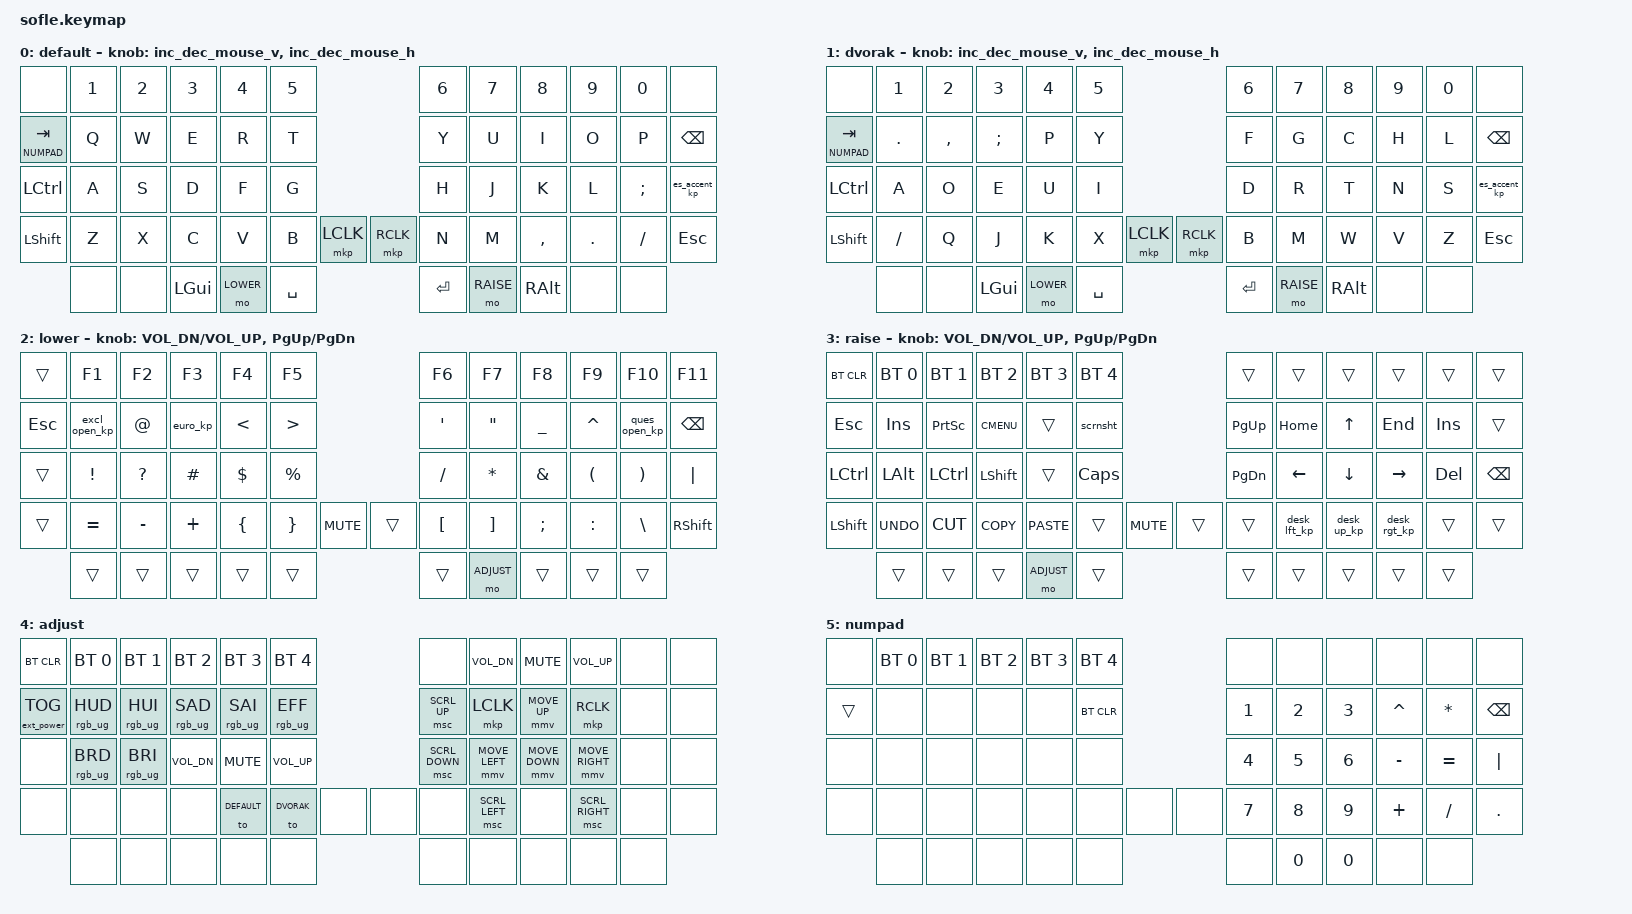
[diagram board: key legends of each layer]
/*
 * Copyright (c) 2020 The ZMK Contributors
 *
 * SPDX-License-Identifier: MIT
 */

#include <behaviors.dtsi>
#include <dt-bindings/zmk/keys.h>
#include <dt-bindings/zmk/bt.h>
#include <dt-bindings/zmk/rgb.h>
#include <dt-bindings/zmk/matrix_transform.h>
#include <dt-bindings/zmk/outputs.h>
#include <dt-bindings/zmk/ext_power.h>
#include <dt-bindings/zmk/pointing.h>

#define DEFAULT 0
#define DVORAK  1
#define LOWER 2
#define RAISE 3
#define ADJUST 4
#define NUMPAD 5

/* MACROS */
#define ES_NTIL SEMI
#define ES_TILD SQT
#define ES_LT RS(COMMA)
#define ES_GT TILDE

#define OP_TERM &kp LC(LG(LA(SLASH))) // open terminal iTerm2 in current directory for MacOS

/ {

    macros {
        scrnsht: scrnsht {
            label = "ZM_SCREENSHOOT_KP";
            compatible = "zmk,behavior-macro";
            #binding-cells = <0>;
            wait-ms = <0>;
            tap-ms = <10>;
            bindings
                    = <&macro_press &kp LSHFT &kp LGUI>
                    , <&macro_tap &kp N4>
                    , <&macro_release &kp LSHFT &kp LGUI>
                    ;
        };

        euro_kp: euro_kp {
            label = "ZM_EURO_KP";
            compatible = "zmk,behavior-macro";
            #binding-cells = <0>;
            wait-ms = <0>;
            tap-ms = <10>;
            bindings
                    = <&macro_press &kp LALT &kp LSHFT>
                    , <&macro_tap &kp N2>
                    , <&macro_release &kp LALT &kp LSHFT>
                    ;
        };


        excl_open_kp: excl_open_kp {
            label = "ZM_EXCL_OPEN_KP";
            compatible = "zmk,behavior-macro";
            #binding-cells = <0>;
            wait-ms = <0>;
            tap-ms = <10>;
            bindings
                    = <&macro_press &kp LALT>
                    , <&macro_tap &kp N1>
                    , <&macro_release &kp LALT>
                    ;
        };


        ques_open_kp: ques_open_kp {
            label = "ZM_QUES_OPEN_KP";
            compatible = "zmk,behavior-macro";
            #binding-cells = <0>;
            wait-ms = <0>;
            tap-ms = <10>;
            bindings
                    = <&macro_press &kp LALT &kp LSHFT>
                    , <&macro_tap &kp FSLH>
                    , <&macro_release &kp LALT &kp LSHFT>
                    ;
        };

        es_accent_kp: es_accent_kp {
            label = "ZM_ES_ACCENT_KP";
            compatible = "zmk,behavior-macro";
            #binding-cells = <0>;
            wait-ms = <0>;
            tap-ms = <10>;
            bindings
                    = <&macro_press &kp LALT>
                    , <&macro_tap &kp E>
                    , <&macro_release &kp LALT>
                    ;
        };

        desk_lft_kp: desk_lft_kp {
            label = "ZM_DESK_LFT_KP";
            compatible = "zmk,behavior-macro";
            #binding-cells = <0>;
            wait-ms = <0>;
            tap-ms = <10>;
            bindings
                    = <&macro_press &kp LCTRL>
                    , <&macro_tap &kp LEFT>
                    , <&macro_release &kp LCTRL>
                    ;
        };

        desk_rgt_kp: desk_rgt_kp {
            label = "ZM_DESK_RGT_KP";
            compatible = "zmk,behavior-macro";
            #binding-cells = <0>;
            wait-ms = <0>;
            tap-ms = <10>;
            bindings
                    = <&macro_press &kp LCTRL>
                    , <&macro_tap &kp RIGHT>
                    , <&macro_release &kp LCTRL>
                    ;
        };

        desk_up_kp: desk_up_kp {
            label = "ZM_DESK_UP_KP";
            compatible = "zmk,behavior-macro";
            #binding-cells = <0>;
            wait-ms = <0>;
            tap-ms = <10>;
            bindings
                    = <&macro_press &kp LCTRL>
                    , <&macro_tap &kp UP>
                    , <&macro_release &kp LCTRL>
                    ;
        };
    };

    behaviors {
        inc_dec_mouse_v: inc_dec_mouse_v {
            compatible = "zmk,behavior-sensor-rotate";
            #sensor-binding-cells = <0>;
            bindings = <&mmv MOVE_DOWN>, <&mmv MOVE_UP>;
        };

        inc_dec_mouse_h: inc_dec_mouse_h {
            compatible = "zmk,behavior-sensor-rotate";
            #sensor-binding-cells = <0>;
            bindings = <&mmv MOVE_LEFT>, <&mmv MOVE_RIGHT>;
        };
    };

   // Activate ADJUST layer by pressing raise and lower
    conditional_layers {
        compatible = "zmk,conditional-layers";
        adjust_layer {
            if-layers = <LOWER RAISE>;
            then-layer = <ADJUST>;
        };
    };

    keymap {
        compatible = "zmk,keymap";

        default_layer {
            display-name = "default";
// ------------------------------------------------------------------------------------------------------------
// |   `   |  1  |  2  |  3   |  4   |  5   |                   |  6   |  7    |  8    |  9   |   0   |       |
// |TABNUM |  Q  |  W  |  E   |  R   |  T   |                   |  Y   |  U    |  I    |  O   |   P   | BKSPC |
// |  CTRL |  A  |  S  |  D   |  F   |  G   |                   |  H   |  J    |  K    |  L   |   ;   |   '   |
// | SHIFT |  Z  |  X  |  C   |  V   |  B   |  MUTE  |  |       |  N   |  M    |  ,    |  .   |   /   | SHIFT |
//               | none| none | LGUI | LOWER|  SPACE |  | ENTER | RAISE| RALT  | none  | none |
            bindings = <
&none            &kp N1 &kp N2   &kp N3   &kp N4    &kp N5                           &kp N6 &kp N7    &kp N8    &kp N9   &kp N0   &none
&lt NUMPAD TAB   &kp Q  &kp W    &kp E    &kp R     &kp T                            &kp Y  &kp U     &kp I     &kp O    &kp P    &kp BSPC
&kp LCTRL        &kp A  &kp S    &kp D    &kp F     &kp G                            &kp H  &kp J     &kp K     &kp L    &kp SEMI &es_accent_kp
&kp LSHFT        &kp Z  &kp X    &kp C    &kp V     &kp B    &mkp LCLK   &mkp RCLK   &kp N  &kp M     &kp COMMA &kp DOT  &kp FSLH &kp ESC
                 &none  &none    &kp LGUI &mo LOWER &kp SPACE                        &kp RET &mo RAISE &kp RALT &none    &none
            >;

            sensor-bindings = <
                &inc_dec_mouse_v
                &inc_dec_mouse_h
            >;
        };

        dvorak_layer {
            display-name = "dvorak";
// ------------------------------------------------------------------------------------------------------------
// |   `   |  1  |  2  |  3   |  4   |  5   |                   |  6   |   7    |  8   |   9  |   0   |       |
// |TABNUM |  .  |  ,  |  ;:  |   P  |   Y  |                   |  F   |   G   |   C   |   H  |   L   | BKSPC |
// |  CTRL |  A  |  O  |   E  |   U  |   I  |                   |  D   |   R   |   T   |   N  |   S   |   ´   |
// | SHIFT |  /  |  Q  |   J  |   K  |   X  |  MUTE  |  |       |  B   |   M   |   W   |   V  |   Z   |  ESC  |
//               | none| none | LGUI | LOWER|  SPACE |  | ENTER | RAISE| RALT  | none  | none |
            bindings = <
&none            &kp N1    &kp N2     &kp N3     &kp N4      &kp N5                              &kp N6  &kp N7     &kp N8     &kp N9   &kp N0    &none
&lt NUMPAD TAB   &kp DOT   &kp COMMA  &kp SEMI   &kp P       &kp Y                               &kp F   &kp G      &kp C      &kp H    &kp L     &kp BSPC
&kp LCTRL        &kp A     &kp O      &kp E      &kp U       &kp I                               &kp D   &kp R      &kp T      &kp N    &kp S     &es_accent_kp
&kp LSHFT        &kp FSLH  &kp Q      &kp J      &kp K       &kp X       &mkp LCLK   &mkp RCLK   &kp B   &kp M      &kp W      &kp V    &kp Z     &kp ESC
                 &none     &none      &kp LGUI   &mo LOWER   &kp SPACE                           &kp RET &mo RAISE  &kp RALT   &none    &none
            >;

            sensor-bindings = <
                &inc_dec_mouse_v
                &inc_dec_mouse_h
            >;
        };


        lower_layer {
            display-name = "lower";
// TODO: Some binds are waiting for shifted keycode support.
// ------------------------------------------------------------------------------------------------------------
// |       |  F1 |  F2 |  F3  |  F4  |  F5  |                   |  F6  |  F7   |  F8   |  F9  |  F10  |  F11  |
// |  ESC  |  ¡  |  @  |   €  |   <  |   >  |                   |   '  |   "   |   _   |   ^  |   ¿   |  Bspc |
// |  LCTR |  !  |  ?  |   #  |   $  |   %  |                   |   /  |   *   |   &   |   (  |   )   |   |   |
// |  SHFT |  =  |  -  |   +  |   {  |   }  |                   |   [  |   ]   |   ;   |   :  |   \   | Shift |
//               |     |      |      |      |        |  |       |      |       |       |      |
            bindings = <
&trans    &kp F1         &kp F2         &kp F3      &kp F4    &kp F5                        &kp F6    &kp F7        &kp F8          &kp F9     &kp F10           &kp F11
&kp ESC   &excl_open_kp  &kp AT         &euro_kp    &kp LT    &kp GT                        &kp SQT   &kp DQT       &kp UNDER       &kp CARET  &ques_open_kp     &kp BSPC
&trans    &kp EXCL       &kp QUESTION   &kp HASH    &kp DLLR  &kp PERCENT                   &kp SLASH &kp STAR      &kp AMPS        &kp LPAR   &kp RPAR          &kp PIPE
&trans    &kp EQUAL      &kp MINUS      &kp PLUS    &kp LBRC  &kp RBRC      &kp C_MUTE  &trans  &kp LBKT  &kp RBKT      &kp SEMICOLON   &kp COLON  &kp BSLH          &kp RSHFT
          &trans         &trans         &trans      &trans    &trans                        &trans    &mo ADJUST    &trans          &trans     &trans
            >;

            sensor-bindings = <&inc_dec_kp C_VOL_DN C_VOL_UP &inc_dec_kp PG_UP PG_DN>;
        };

        raise_layer {
            display-name = "raise";
// ------------------------------------------------------------------------------------------------------------
// | BTCLR | BT1  | BT2  |  BT3  |  BT4  |  BT5 |                |      |      |       |      |       |       |
// |  ESC  | INS  | PSCR | GUI   |       |SCRSHT|                | PGUP | HOME |   ^   | END  |INSERT |       |
// |  LCTR | ALT  | CTRL | SHIFT |       | CAPS |                | PGDN |   <- |   v   |  ->  |  DEL  | BKSPC |
// |  SHFT | UNDO | CUT  | COPY  | PASTE |      |      |  |      |      |DSKLFT|DSKUP  |DSKRGT|       |       |
//                |      |       | ADJUST|      |      |  |      |      |      |       |      |
            bindings = <
&bt BT_CLR  &bt BT_SEL 0    &bt BT_SEL 1    &bt BT_SEL 2    &bt BT_SEL 3  &bt BT_SEL 4                      &trans      &trans          &trans          &trans          &trans      &trans
&kp ESC     &kp INS         &kp PSCRN       &kp K_CMENU     &trans        &scrnsht                          &kp PG_UP   &kp HOME        &kp UP          &kp END         &kp INSERT  &trans
&kp LCTRL   &kp LALT        &kp LCTRL       &kp LSHFT       &trans        &kp CLCK                          &kp PG_DN   &kp LEFT        &kp DOWN        &kp RIGHT       &kp DELETE  &kp BSPC
&kp LSHFT   &kp K_UNDO      &kp K_CUT       &kp K_COPY      &kp K_PASTE   &trans         &kp C_MUTE  &trans     &trans      &desk_lft_kp    &desk_up_kp     &desk_rgt_kp    &trans      &trans
            &trans          &trans          &trans          &mo ADJUST    &trans                            &trans      &trans          &trans          &trans          &trans
            >;

            sensor-bindings = <&inc_dec_kp C_VOL_DN C_VOL_UP &inc_dec_kp PG_UP PG_DN>;
        };

        adjust_layer {
// ----------------------------------------------------------------------------------------------------------------------------
// | BTCLR  |  BT1    |  BT2    |   BT3   |   BT4   |   BT5   |                  |      |VOLDWN| MUTE  |VOLUP |       |       |
// | EXTPWR | RGB_HUD | RGB_HUI | RGB_SAD | RGB_SAI | RGB_EFF |                  | SCRUP|MC LFT| MOUUP |MC RGT|       |       |
// |        | RGB_BRD | RGB_BRI |VOLDWN   | MUTE    | VOLUP   |                  |SCRDWN|MOULFT|MOUDWN |MOURGH|       |       |
// |        |         |         |         | QWERT   | DVORAK  | RGB_TOG | |      |      |SCRLFT|       |SCRRGT|       |       |
//                    |         |         |         |         |         | |      |      |      |       |      |
            display-name = "adjust";
            bindings = <
&bt BT_CLR        &bt BT_SEL 0    &bt BT_SEL 1    &bt BT_SEL 2    &bt BT_SEL 3    &bt BT_SEL 4                            &none           &kp C_VOL_DN    &kp K_MUTE      &kp C_VOL_UP     &none &none
&ext_power EP_TOG &rgb_ug RGB_HUD &rgb_ug RGB_HUI &rgb_ug RGB_SAD &rgb_ug RGB_SAI &rgb_ug RGB_EFF                         &msc SCRL_UP    &mkp LCLK       &mmv MOVE_UP    &mkp RCLK        &none &none
&none             &rgb_ug RGB_BRD &rgb_ug RGB_BRI &kp C_VOL_DN    &kp K_MUTE      &kp C_VOL_UP                            &msc SCRL_DOWN  &mmv MOVE_LEFT  &mmv MOVE_DOWN  &mmv MOVE_RIGHT  &none &none
&none             &none           &none           &none           &to DEFAULT     &to DVORAK       &none           &none  &none           &msc SCRL_LEFT  &none           &msc SCRL_RIGHT  &none &none

                                  &none           &none           &none           &none            &none           &none  &none &none &none &none
            >;
        };

        numpad_layer {
// ----------------------------------------------------------------------------------------------------------------------------
// |        |         |         |         |         |         |                  |      |      |       |      |       |       |
// |        |         |         |         |         |         |                  |   1  |   2  |   3   |   ^  |   *   | Bspc  |
// |        |         |         |         |         |         |                  |   4  |   5  |   6   |   -  |   =   |   |   |
// |        |         |         |         |         |         |         | |      |   7  |   8  |   9   |   +  |   /   |   .   |
//                    |         |         |         |         |         | |      |      |      |   0   |      |
            display-name = "numpad";
            bindings = <
&none     &bt BT_SEL 0    &bt BT_SEL 1    &bt BT_SEL 2    &bt BT_SEL 3    &bt BT_SEL 4                       &none  &none  &none  &none     &none     &none
&trans    &none     &none    &none    &none     &bt BT_CLR                                                   &kp N1 &kp N2 &kp N3 &kp CARET &kp STAR  &kp BSPC
&none     &none     &none    &none    &none     &none                                                        &kp N4 &kp N5 &kp N6 &kp MINUS &kp EQUAL &kp PIPE
&none     &none     &none    &none    &none     &none      &none                        &none                &kp N7 &kp N8 &kp N9 &kp PLUS  &kp SLASH &kp DOT
          &none     &none    &none    &none     &none                                                        &none  &kp N0 &kp N0 &none     &none
            >;
        };
    };
};
